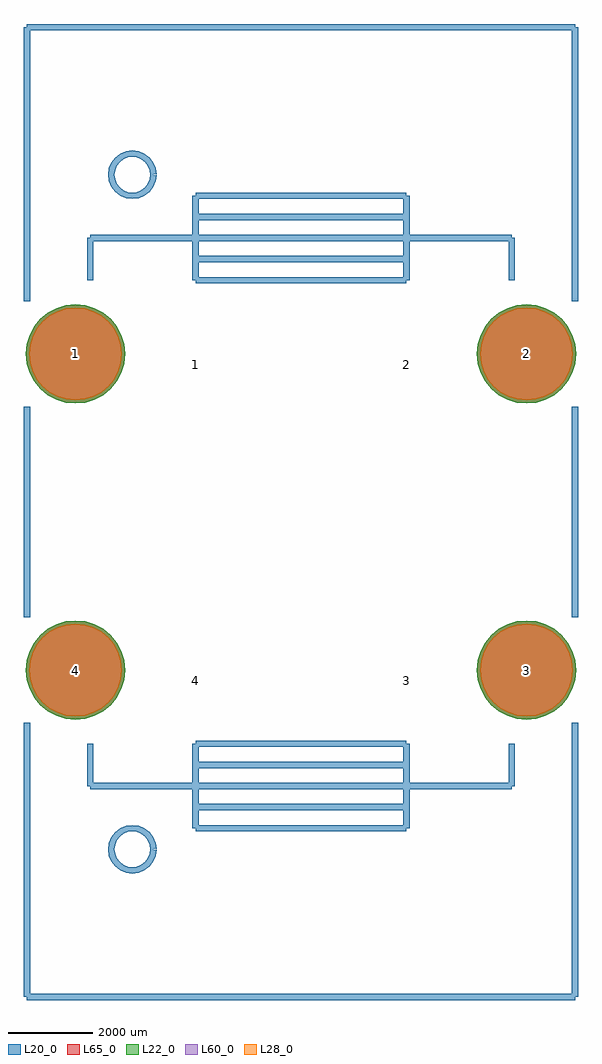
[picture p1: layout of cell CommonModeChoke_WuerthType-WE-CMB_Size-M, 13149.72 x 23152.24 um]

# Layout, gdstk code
import gdstk
lib = gdstk.Library(unit=1e-6, precision=1e-09)
def P(c, l, *ps):  # polygons
    for p in ps: c.add(gdstk.Polygon(p, *l))
L20_0 = (20, 0)
L22_0 = (22, 0)
L28_0 = (28, 0)
L60_0 = (60, 0)
L65_0 = (65, 0)

commonmodechoke_wuerthty = lib.new_cell('CommonModeChoke_WuerthType-WE-CMB_Size-M')
P(commonmodechoke_wuerthty, L22_0, [(-4174.42,3749.04),(-4196.994,3978.236),(-4263.848,4198.624),(-4372.413,4401.735),(-4518.517,4579.763),(-4696.545,4725.867),(-4899.656,4834.432),(-5120.044,4901.286),(-5349.24,4923.86),(-5578.436,4901.286),(-5798.824,4834.432),(-6001.935,4725.867),(-6179.963,4579.763),(-6326.067,4401.735),(-6434.632,4198.624),(-6501.486,3978.236),(-6524.06,3749.04),(-6501.486,3519.844),(-6434.632,3299.456),(-6326.067,3096.345),(-6179.963,2918.317),(-6001.935,2772.213),(-5798.824,2663.648),(-5578.436,2596.794),(-5349.24,2574.22),(-5120.044,2596.794),(-4899.656,2663.648),(-4696.545,2772.213),(-4518.517,2918.317),(-4372.413,3096.345),(-4263.848,3299.456),(-4196.994,3519.844)],
  [(6524.06,3749.04),(6501.486,3978.236),(6434.632,4198.624),(6326.067,4401.735),(6179.963,4579.763),(6001.935,4725.867),(5798.824,4834.432),(5578.436,4901.286),(5349.24,4923.86),(5120.044,4901.286),(4899.656,4834.432),(4696.545,4725.867),(4518.517,4579.763),(4372.413,4401.735),(4263.848,4198.624),(4196.994,3978.236),(4174.42,3749.04),(4196.994,3519.844),(4263.848,3299.456),(4372.413,3096.345),(4518.517,2918.317),(4696.545,2772.213),(4899.656,2663.648),(5120.044,2596.794),(5349.24,2574.22),(5578.436,2596.794),(5798.824,2663.648),(6001.935,2772.213),(6179.963,2918.317),(6326.067,3096.345),(6434.632,3299.456),(6501.486,3519.844)],
  [(6524.06,-3749.04),(6501.486,-3519.844),(6434.632,-3299.456),(6326.067,-3096.345),(6179.963,-2918.317),(6001.935,-2772.213),(5798.824,-2663.648),(5578.436,-2596.794),(5349.24,-2574.22),(5120.044,-2596.794),(4899.656,-2663.648),(4696.545,-2772.213),(4518.517,-2918.317),(4372.413,-3096.345),(4263.848,-3299.456),(4196.994,-3519.844),(4174.42,-3749.04),(4196.994,-3978.236),(4263.848,-4198.624),(4372.413,-4401.735),(4518.517,-4579.763),(4696.545,-4725.867),(4899.656,-4834.432),(5120.044,-4901.286),(5349.24,-4923.86),(5578.436,-4901.286),(5798.824,-4834.432),(6001.935,-4725.867),(6179.963,-4579.763),(6326.067,-4401.735),(6434.632,-4198.624),(6501.486,-3978.236)],
  [(-4174.42,-3749.04),(-4196.994,-3519.844),(-4263.848,-3299.456),(-4372.413,-3096.345),(-4518.517,-2918.317),(-4696.545,-2772.213),(-4899.656,-2663.648),(-5120.044,-2596.794),(-5349.24,-2574.22),(-5578.436,-2596.794),(-5798.824,-2663.648),(-6001.935,-2772.213),(-6179.963,-2918.317),(-6326.067,-3096.345),(-6434.632,-3299.456),(-6501.486,-3519.844),(-6524.06,-3749.04),(-6501.486,-3978.236),(-6434.632,-4198.624),(-6326.067,-4401.735),(-6179.963,-4579.763),(-6001.935,-4725.867),(-5798.824,-4834.432),(-5578.436,-4901.286),(-5349.24,-4923.86),(-5120.044,-4901.286),(-4899.656,-4834.432),(-4696.545,-4725.867),(-4518.517,-4579.763),(-4372.413,-4401.735),(-4263.848,-4198.624),(-4196.994,-3978.236)])
P(commonmodechoke_wuerthty, L28_0, [(-4249.42,3749.04),(-4270.553,3963.604),(-4333.139,4169.923),(-4434.773,4360.067),(-4571.55,4526.73),(-4738.213,4663.507),(-4928.357,4765.141),(-5134.676,4827.727),(-5349.24,4848.86),(-5563.804,4827.727),(-5770.123,4765.141),(-5960.267,4663.507),(-6126.93,4526.73),(-6263.707,4360.067),(-6365.341,4169.923),(-6427.927,3963.604),(-6449.06,3749.04),(-6427.927,3534.476),(-6365.341,3328.157),(-6263.707,3138.013),(-6126.93,2971.35),(-5960.267,2834.573),(-5770.123,2732.939),(-5563.804,2670.353),(-5349.24,2649.22),(-5134.676,2670.353),(-4928.357,2732.939),(-4738.213,2834.573),(-4571.55,2971.35),(-4434.773,3138.013),(-4333.139,3328.157),(-4270.553,3534.476)],
  [(6449.06,3749.04),(6427.927,3963.604),(6365.341,4169.923),(6263.707,4360.067),(6126.93,4526.73),(5960.267,4663.507),(5770.123,4765.141),(5563.804,4827.727),(5349.24,4848.86),(5134.676,4827.727),(4928.357,4765.141),(4738.213,4663.507),(4571.55,4526.73),(4434.773,4360.067),(4333.139,4169.923),(4270.553,3963.604),(4249.42,3749.04),(4270.553,3534.476),(4333.139,3328.157),(4434.773,3138.013),(4571.55,2971.35),(4738.213,2834.573),(4928.357,2732.939),(5134.676,2670.353),(5349.24,2649.22),(5563.804,2670.353),(5770.123,2732.939),(5960.267,2834.573),(6126.93,2971.35),(6263.707,3138.013),(6365.341,3328.157),(6427.927,3534.476)],
  [(6449.06,-3749.04),(6427.927,-3534.476),(6365.341,-3328.157),(6263.707,-3138.013),(6126.93,-2971.35),(5960.267,-2834.573),(5770.123,-2732.939),(5563.804,-2670.353),(5349.24,-2649.22),(5134.676,-2670.353),(4928.357,-2732.939),(4738.213,-2834.573),(4571.55,-2971.35),(4434.773,-3138.013),(4333.139,-3328.157),(4270.553,-3534.476),(4249.42,-3749.04),(4270.553,-3963.604),(4333.139,-4169.923),(4434.773,-4360.067),(4571.55,-4526.73),(4738.213,-4663.507),(4928.357,-4765.141),(5134.676,-4827.727),(5349.24,-4848.86),(5563.804,-4827.727),(5770.123,-4765.141),(5960.267,-4663.507),(6126.93,-4526.73),(6263.707,-4360.067),(6365.341,-4169.923),(6427.927,-3963.604)],
  [(-4249.42,-3749.04),(-4270.553,-3534.476),(-4333.139,-3328.157),(-4434.773,-3138.013),(-4571.55,-2971.35),(-4738.213,-2834.573),(-4928.357,-2732.939),(-5134.676,-2670.353),(-5349.24,-2649.22),(-5563.804,-2670.353),(-5770.123,-2732.939),(-5960.267,-2834.573),(-6126.93,-2971.35),(-6263.707,-3138.013),(-6365.341,-3328.157),(-6427.927,-3534.476),(-6449.06,-3749.04),(-6427.927,-3963.604),(-6365.341,-4169.923),(-6263.707,-4360.067),(-6126.93,-4526.73),(-5960.267,-4663.507),(-5770.123,-4765.141),(-5563.804,-4827.727),(-5349.24,-4848.86),(-5134.676,-4827.727),(-4928.357,-4765.141),(-4738.213,-4663.507),(-4571.55,-4526.73),(-4434.773,-4360.067),(-4333.139,-4169.923),(-4270.553,-3963.604)])
P(commonmodechoke_wuerthty, L60_0, [(-4249.42,3749.04),(-4270.553,3963.604),(-4333.139,4169.923),(-4434.773,4360.067),(-4571.55,4526.73),(-4738.213,4663.507),(-4928.357,4765.141),(-5134.676,4827.727),(-5349.24,4848.86),(-5563.804,4827.727),(-5770.123,4765.141),(-5960.267,4663.507),(-6126.93,4526.73),(-6263.707,4360.067),(-6365.341,4169.923),(-6427.927,3963.604),(-6449.06,3749.04),(-6427.927,3534.476),(-6365.341,3328.157),(-6263.707,3138.013),(-6126.93,2971.35),(-5960.267,2834.573),(-5770.123,2732.939),(-5563.804,2670.353),(-5349.24,2649.22),(-5134.676,2670.353),(-4928.357,2732.939),(-4738.213,2834.573),(-4571.55,2971.35),(-4434.773,3138.013),(-4333.139,3328.157),(-4270.553,3534.476)],
  [(6449.06,3749.04),(6427.927,3963.604),(6365.341,4169.923),(6263.707,4360.067),(6126.93,4526.73),(5960.267,4663.507),(5770.123,4765.141),(5563.804,4827.727),(5349.24,4848.86),(5134.676,4827.727),(4928.357,4765.141),(4738.213,4663.507),(4571.55,4526.73),(4434.773,4360.067),(4333.139,4169.923),(4270.553,3963.604),(4249.42,3749.04),(4270.553,3534.476),(4333.139,3328.157),(4434.773,3138.013),(4571.55,2971.35),(4738.213,2834.573),(4928.357,2732.939),(5134.676,2670.353),(5349.24,2649.22),(5563.804,2670.353),(5770.123,2732.939),(5960.267,2834.573),(6126.93,2971.35),(6263.707,3138.013),(6365.341,3328.157),(6427.927,3534.476)],
  [(6449.06,-3749.04),(6427.927,-3534.476),(6365.341,-3328.157),(6263.707,-3138.013),(6126.93,-2971.35),(5960.267,-2834.573),(5770.123,-2732.939),(5563.804,-2670.353),(5349.24,-2649.22),(5134.676,-2670.353),(4928.357,-2732.939),(4738.213,-2834.573),(4571.55,-2971.35),(4434.773,-3138.013),(4333.139,-3328.157),(4270.553,-3534.476),(4249.42,-3749.04),(4270.553,-3963.604),(4333.139,-4169.923),(4434.773,-4360.067),(4571.55,-4526.73),(4738.213,-4663.507),(4928.357,-4765.141),(5134.676,-4827.727),(5349.24,-4848.86),(5563.804,-4827.727),(5770.123,-4765.141),(5960.267,-4663.507),(6126.93,-4526.73),(6263.707,-4360.067),(6365.341,-4169.923),(6427.927,-3963.604)],
  [(-4249.42,-3749.04),(-4270.553,-3534.476),(-4333.139,-3328.157),(-4434.773,-3138.013),(-4571.55,-2971.35),(-4738.213,-2834.573),(-4928.357,-2732.939),(-5134.676,-2670.353),(-5349.24,-2649.22),(-5563.804,-2670.353),(-5770.123,-2732.939),(-5960.267,-2834.573),(-6126.93,-2971.35),(-6263.707,-3138.013),(-6365.341,-3328.157),(-6427.927,-3534.476),(-6449.06,-3749.04),(-6427.927,-3963.604),(-6365.341,-4169.923),(-6263.707,-4360.067),(-6126.93,-4526.73),(-5960.267,-4663.507),(-5770.123,-4765.141),(-5563.804,-4827.727),(-5349.24,-4848.86),(-5134.676,-4827.727),(-4928.357,-4765.141),(-4738.213,-4663.507),(-4571.55,-4526.73),(-4434.773,-4360.067),(-4333.139,-4169.923),(-4270.553,-3963.604)])
P(commonmodechoke_wuerthty, L65_0, [(-4174.42,3749.04),(-4196.994,3978.236),(-4263.848,4198.624),(-4372.413,4401.735),(-4518.517,4579.763),(-4696.545,4725.867),(-4899.656,4834.432),(-5120.044,4901.286),(-5349.24,4923.86),(-5578.436,4901.286),(-5798.824,4834.432),(-6001.935,4725.867),(-6179.963,4579.763),(-6326.067,4401.735),(-6434.632,4198.624),(-6501.486,3978.236),(-6524.06,3749.04),(-6501.486,3519.844),(-6434.632,3299.456),(-6326.067,3096.345),(-6179.963,2918.317),(-6001.935,2772.213),(-5798.824,2663.648),(-5578.436,2596.794),(-5349.24,2574.22),(-5120.044,2596.794),(-4899.656,2663.648),(-4696.545,2772.213),(-4518.517,2918.317),(-4372.413,3096.345),(-4263.848,3299.456),(-4196.994,3519.844)],
  [(6524.06,3749.04),(6501.486,3978.236),(6434.632,4198.624),(6326.067,4401.735),(6179.963,4579.763),(6001.935,4725.867),(5798.824,4834.432),(5578.436,4901.286),(5349.24,4923.86),(5120.044,4901.286),(4899.656,4834.432),(4696.545,4725.867),(4518.517,4579.763),(4372.413,4401.735),(4263.848,4198.624),(4196.994,3978.236),(4174.42,3749.04),(4196.994,3519.844),(4263.848,3299.456),(4372.413,3096.345),(4518.517,2918.317),(4696.545,2772.213),(4899.656,2663.648),(5120.044,2596.794),(5349.24,2574.22),(5578.436,2596.794),(5798.824,2663.648),(6001.935,2772.213),(6179.963,2918.317),(6326.067,3096.345),(6434.632,3299.456),(6501.486,3519.844)],
  [(6524.06,-3749.04),(6501.486,-3519.844),(6434.632,-3299.456),(6326.067,-3096.345),(6179.963,-2918.317),(6001.935,-2772.213),(5798.824,-2663.648),(5578.436,-2596.794),(5349.24,-2574.22),(5120.044,-2596.794),(4899.656,-2663.648),(4696.545,-2772.213),(4518.517,-2918.317),(4372.413,-3096.345),(4263.848,-3299.456),(4196.994,-3519.844),(4174.42,-3749.04),(4196.994,-3978.236),(4263.848,-4198.624),(4372.413,-4401.735),(4518.517,-4579.763),(4696.545,-4725.867),(4899.656,-4834.432),(5120.044,-4901.286),(5349.24,-4923.86),(5578.436,-4901.286),(5798.824,-4834.432),(6001.935,-4725.867),(6179.963,-4579.763),(6326.067,-4401.735),(6434.632,-4198.624),(6501.486,-3978.236)],
  [(-4174.42,-3749.04),(-4196.994,-3519.844),(-4263.848,-3299.456),(-4372.413,-3096.345),(-4518.517,-2918.317),(-4696.545,-2772.213),(-4899.656,-2663.648),(-5120.044,-2596.794),(-5349.24,-2574.22),(-5578.436,-2596.794),(-5798.824,-2663.648),(-6001.935,-2772.213),(-6179.963,-2918.317),(-6326.067,-3096.345),(-6434.632,-3299.456),(-6501.486,-3519.844),(-6524.06,-3749.04),(-6501.486,-3978.236),(-6434.632,-4198.624),(-6326.067,-4401.735),(-6179.963,-4579.763),(-6001.935,-4725.867),(-5798.824,-4834.432),(-5578.436,-4901.286),(-5349.24,-4923.86),(-5120.044,-4901.286),(-4899.656,-4834.432),(-4696.545,-4725.867),(-4518.517,-4579.763),(-4372.413,-4401.735),(-4263.848,-4198.624),(-4196.994,-3978.236)])
commonmodechoke_wuerthty.add(gdstk.FlexPath([(6499.86,11501.12),(6499.86,5001.26)], 149.998, ends="flush", simple_path=True, layer=20, datatype=0))  # L20_0
commonmodechoke_wuerthty.add(gdstk.FlexPath([(6499.86,2499.36),(6499.86,-2499.36)], 149.998, ends="flush", simple_path=True, layer=20, datatype=0))  # L20_0
commonmodechoke_wuerthty.add(gdstk.FlexPath([(-6499.86,-11501.12),(-6499.86,-5001.26)], 149.998, ends="flush", simple_path=True, layer=20, datatype=0))  # L20_0
commonmodechoke_wuerthty.add(gdstk.FlexPath([(6499.86,-11501.12),(-6499.86,-11501.12)], 149.998, ends="flush", simple_path=True, layer=20, datatype=0))  # L20_0
commonmodechoke_wuerthty.add(gdstk.FlexPath([(6499.86,-5001.26),(6499.86,-11501.12)], 149.998, ends="flush", simple_path=True, layer=20, datatype=0))  # L20_0
commonmodechoke_wuerthty.add(gdstk.FlexPath([(-6499.86,-2499.36),(-6499.86,2499.36)], 149.998, ends="flush", simple_path=True, layer=20, datatype=0))  # L20_0
commonmodechoke_wuerthty.add(gdstk.FlexPath([(-6499.86,11501.12),(6499.86,11501.12)], 149.998, ends="flush", simple_path=True, layer=20, datatype=0))  # L20_0
commonmodechoke_wuerthty.add(gdstk.FlexPath([(-6499.86,5001.26),(-6499.86,11501.12)], 149.998, ends="flush", simple_path=True, layer=20, datatype=0))  # L20_0
commonmodechoke_wuerthty.add(gdstk.FlexPath([(-2499.36,7500.62),(0,7500.62)], 149.998, ends="flush", simple_path=True, layer=20, datatype=0))  # L20_0
commonmodechoke_wuerthty.add(gdstk.FlexPath([(-2499.36,5499.1),(-2499.36,7500.62)], 149.998, ends="flush", simple_path=True, layer=20, datatype=0))  # L20_0
commonmodechoke_wuerthty.add(gdstk.FlexPath([(5001.26,6499.86),(5001.26,5499.1)], 149.998, ends="flush", simple_path=True, layer=20, datatype=0))  # L20_0
commonmodechoke_wuerthty.add(gdstk.FlexPath([(-5001.26,6499.86),(-5001.26,5499.1)], 149.998, ends="flush", simple_path=True, layer=20, datatype=0))  # L20_0
commonmodechoke_wuerthty.add(gdstk.FlexPath([(-2499.36,6499.86),(-5001.26,6499.86)], 149.998, ends="flush", simple_path=True, layer=20, datatype=0))  # L20_0
commonmodechoke_wuerthty.add(gdstk.FlexPath([(2499.36,5499.1),(-2499.36,5499.1)], 149.998, ends="flush", simple_path=True, layer=20, datatype=0))  # L20_0
commonmodechoke_wuerthty.add(gdstk.FlexPath([(2499.36,7500.62),(2499.36,5499.1)], 149.998, ends="flush", simple_path=True, layer=20, datatype=0))  # L20_0
commonmodechoke_wuerthty.add(gdstk.FlexPath([(0,7500.62),(2499.36,7500.62)], 149.998, ends="flush", simple_path=True, layer=20, datatype=0))  # L20_0
commonmodechoke_wuerthty.add(gdstk.FlexPath([(-2499.36,6499.86),(2499.36,6499.86)], 149.998, ends="flush", simple_path=True, layer=20, datatype=0))  # L20_0
commonmodechoke_wuerthty.add(gdstk.FlexPath([(2499.36,7000.24),(-2499.36,7000.24)], 149.998, ends="flush", simple_path=True, layer=20, datatype=0))  # L20_0
commonmodechoke_wuerthty.add(gdstk.FlexPath([(-2499.36,5999.48),(2499.36,5999.48)], 149.998, ends="flush", simple_path=True, layer=20, datatype=0))  # L20_0
commonmodechoke_wuerthty.add(gdstk.FlexPath([(2499.36,6499.86),(5001.26,6499.86)], 149.998, ends="flush", simple_path=True, layer=20, datatype=0))  # L20_0
commonmodechoke_wuerthty.add(gdstk.FlexPath([(2499.36,-5499.1),(2499.36,-7500.62)], 149.998, ends="flush", simple_path=True, layer=20, datatype=0))  # L20_0
commonmodechoke_wuerthty.add(gdstk.FlexPath([(-2499.36,-5499.1),(2499.36,-5499.1)], 149.998, ends="flush", simple_path=True, layer=20, datatype=0))  # L20_0
commonmodechoke_wuerthty.add(gdstk.FlexPath([(-2499.36,-7500.62),(-2499.36,-5499.1)], 149.998, ends="flush", simple_path=True, layer=20, datatype=0))  # L20_0
commonmodechoke_wuerthty.add(gdstk.FlexPath([(2499.36,-7500.62),(-2499.36,-7500.62)], 149.998, ends="flush", simple_path=True, layer=20, datatype=0))  # L20_0
commonmodechoke_wuerthty.add(gdstk.FlexPath([(5001.26,-6499.86),(2499.36,-6499.86)], 149.998, ends="flush", simple_path=True, layer=20, datatype=0))  # L20_0
commonmodechoke_wuerthty.add(gdstk.FlexPath([(5001.26,-5499.1),(5001.26,-6499.86)], 149.998, ends="flush", simple_path=True, layer=20, datatype=0))  # L20_0
commonmodechoke_wuerthty.add(gdstk.FlexPath([(-5001.26,-6499.86),(-2499.36,-6499.86)], 149.998, ends="flush", simple_path=True, layer=20, datatype=0))  # L20_0
commonmodechoke_wuerthty.add(gdstk.FlexPath([(-5001.26,-5499.1),(-5001.26,-6499.86)], 149.998, ends="flush", simple_path=True, layer=20, datatype=0))  # L20_0
commonmodechoke_wuerthty.add(gdstk.FlexPath([(2499.36,-5999.48),(-2499.36,-5999.48)], 149.998, ends="flush", simple_path=True, layer=20, datatype=0))  # L20_0
commonmodechoke_wuerthty.add(gdstk.FlexPath([(-2499.36,-7000.24),(2499.36,-7000.24)], 149.998, ends="flush", simple_path=True, layer=20, datatype=0))  # L20_0
commonmodechoke_wuerthty.add(gdstk.FlexPath([(2499.36,-6499.86),(-2499.36,-6499.86)], 149.998, ends="flush", simple_path=True, layer=20, datatype=0))  # L20_0
commonmodechoke_wuerthty.add(gdstk.FlexPath([(-3500.12,8001),(-3517.17,8130.508),(-3567.158,8251.19),(-3646.678,8354.822),(-3750.31,8434.342),(-3870.992,8484.33),(-4000.5,8501.38),(-4130.008,8484.33),(-4250.69,8434.342),(-4354.322,8354.822),(-4433.842,8251.19),(-4483.83,8130.508),(-4500.88,8001),(-4483.83,7871.492),(-4433.842,7750.81),(-4354.322,7647.178),(-4250.69,7567.658),(-4130.008,7517.67),(-4000.5,7500.62),(-3870.992,7517.67),(-3750.31,7567.658),(-3646.678,7647.178),(-3567.158,7750.81),(-3517.17,7871.492),(-3500.12,8001)], 149.998, ends="flush", simple_path=True, layer=20, datatype=0))  # L20_0
commonmodechoke_wuerthty.add(gdstk.FlexPath([(-3500.12,-8001),(-3517.17,-7871.492),(-3567.158,-7750.81),(-3646.678,-7647.178),(-3750.31,-7567.658),(-3870.992,-7517.67),(-4000.5,-7500.62),(-4130.008,-7517.67),(-4250.69,-7567.658),(-4354.322,-7647.178),(-4433.842,-7750.81),(-4483.83,-7871.492),(-4500.88,-8001),(-4483.83,-8130.508),(-4433.842,-8251.19),(-4354.322,-8354.822),(-4250.69,-8434.342),(-4130.008,-8484.33),(-4000.5,-8501.38),(-3870.992,-8484.33),(-3750.31,-8434.342),(-3646.678,-8354.822),(-3567.158,-8251.19),(-3517.17,-8130.508),(-3500.12,-8001)], 149.998, ends="flush", simple_path=True, layer=20, datatype=0))  # L20_0
commonmodechoke_wuerthty.add(gdstk.Label('1', (-5349.24,3749.04), layer=28, texttype=0))
commonmodechoke_wuerthty.add(gdstk.Label('2', (5349.24,3749.04), layer=28, texttype=0))
commonmodechoke_wuerthty.add(gdstk.Label('3', (5349.24,-3749.04), layer=28, texttype=0))
commonmodechoke_wuerthty.add(gdstk.Label('4', (-5349.24,-3749.04), layer=28, texttype=0))
commonmodechoke_wuerthty.add(gdstk.Label('1', (-2499.36,3500.12), layer=9, texttype=0))
commonmodechoke_wuerthty.add(gdstk.Label('2', (2499.36,3500.12), layer=9, texttype=0))
commonmodechoke_wuerthty.add(gdstk.Label('4', (-2499.36,-4000.5), layer=9, texttype=0))
commonmodechoke_wuerthty.add(gdstk.Label('3', (2499.36,-4000.5), layer=9, texttype=0))
commonmodechoke_wuerthty.add(gdstk.Label('type', (0,-14000.48), layer=9, texttype=0))
commonmodechoke_wuerthty.add(gdstk.Label('devicename', (0,12999.72), layer=9, texttype=0))

lib.write_gds('CommonModeChoke_WuerthType-WE-CMB_Size-M.gds')
